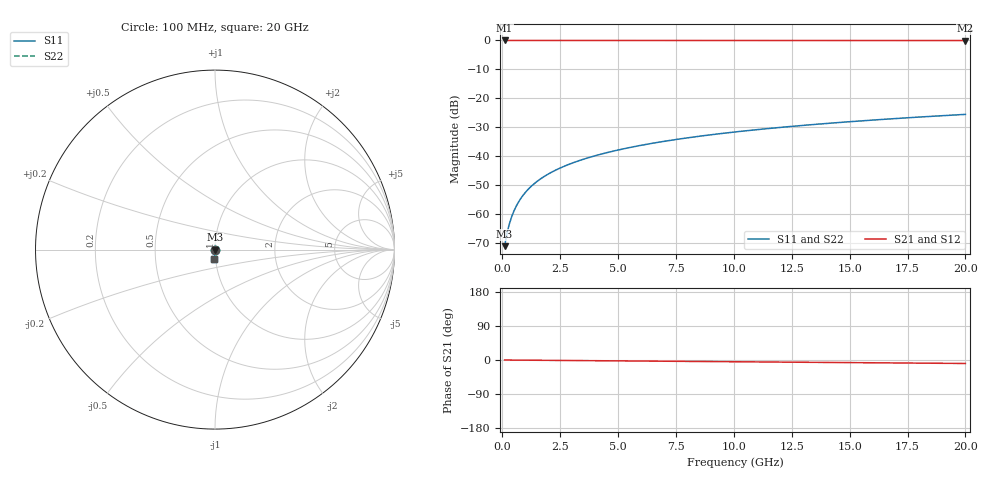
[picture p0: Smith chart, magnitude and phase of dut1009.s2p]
! Touchstone file exported from HFSS 2026.1.0
!  File:  C:/ffzhzh/LocalFiles/Ansys_Project_Files/temp_train_TSV_1009_1783188624_51560.aedt
!  Generated:  02:11:43 AM Jul  5, 2026
!  Design:  TSV
!  Project:  temp_train_TSV_1009_1783188624_51560
! Variables:
!  h_bsmrdl = 2um
!  h_ox = 20um
!  h_rdl = 5um
!  h_sub = 93.63um
!  h_tmrdl = 5um
!  h_tsv = 93.63um
!  h_via = 3um
!  l_bsmrdl = 300um
!  l_sub = 417.24um
!  l_tmrdl = 200um
!  m_sub = 200um
!  pitch = 25.81um
!  r_tsv = 8.62um
!  s_tmrdl = 10um
!  w_bsmrdl = 18um
!  w_sub = 500um
!  w_tmrdl = 12um
!  x_tsv_center1 = 206um
!  x_tsv_center2 = 524um
!  x_tsv_center3 = 736um
!  x_tsv_center4 = 1054um
!  x_tsv_center5 = 1266um
!  x_tsv_center6 = 1584um
# GHz S MA R 50.000000
! Terminal data exported
! Port[1] = TSV1_1_T1
! Port[2] = TSV1_1_T2
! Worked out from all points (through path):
!   200 points, 100 MHz to 20 GHz, reference 50 ohm
!   highest |S21| = 0.00 dB at 100 MHz (marker M1); lowest = 0.0 dB at 20 GHz (marker M2)
!   group delay of S21, straight-line fit = 1.27 ps
!   lowest |S11| = -71.1 dB at 100 MHz (marker M3), VSWR 1.00, Z = 50 - j0.02 ohm
!   |S11| at or under -10 dB: start of sweep to end of sweep
!   |S22| runs from -71.1 to -25.5 dB; largest |S21 - S12| = 5.4e-15
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0.1  0.0002797 -45.8  0.9998 -0.0  0.9998 -0.0  0.0002797 -45.8
! Gamma 0 0 0 0
! Port Impedance 50 0 50 0
0.2  0.0004594 -62.1  0.9998 -0.1  0.9998 -0.1  0.0004594 -62.1
0.3  0.0006669 -68.6  0.9998 -0.1  0.9998 -0.1  0.0006669 -68.6
0.4  0.0008901 -71.9  0.9997 -0.2  0.9997 -0.2  0.0008901 -71.9
0.5  0.001125 -73.9  0.9997 -0.2  0.9997 -0.2  0.001125 -73.9
0.6  0.001367 -75.5  0.9996 -0.3  0.9996 -0.3  0.001367 -75.5
0.8  0.001868 -77.7  0.9996 -0.4  0.9996 -0.4  0.001868 -77.7
1.1  0.002638 -80.0  0.9995 -0.5  0.9995 -0.5  0.002638 -80.0
1.3  0.003155 -81.2  0.9995 -0.6  0.9995 -0.6  0.003155 -81.2
1.5  0.003672 -82.1  0.9994 -0.7  0.9994 -0.7  0.003672 -82.1
1.8  0.00445 -83.3  0.9994 -0.8  0.9994 -0.8  0.00445 -83.3
2.1  0.005227 -84.1  0.9994 -1.0  0.9994 -1.0  0.005227 -84.1
2.7  0.006784 -85.4  0.9993 -1.3  0.9993 -1.3  0.006784 -85.4
3.5  0.00887 -86.6  0.9992 -1.6  0.9992 -1.6  0.00887 -86.6
4.2  0.01071 -87.4  0.9991 -1.9  0.9991 -1.9  0.01071 -87.4
5  0.01281 -88.1  0.999 -2.3  0.999 -2.3  0.01281 -88.1
6.8  0.01759 -89.5  0.9987 -3.1  0.9987 -3.1  0.01759 -89.5
8.3  0.02159 -90.6  0.9985 -3.8  0.9985 -3.8  0.02159 -90.6
10.1  0.0264 -91.7  0.9983 -4.6  0.9983 -4.6  0.0264 -91.7
13.4  0.03522 -93.6  0.9978 -6.1  0.9978 -6.1  0.03522 -93.6
16.7  0.04403 -95.4  0.9973 -7.7  0.9973 -7.7  0.04403 -95.4
20  0.05284 -97.1  0.9967 -9.1  0.9967 -9.1  0.05284 -97.1
